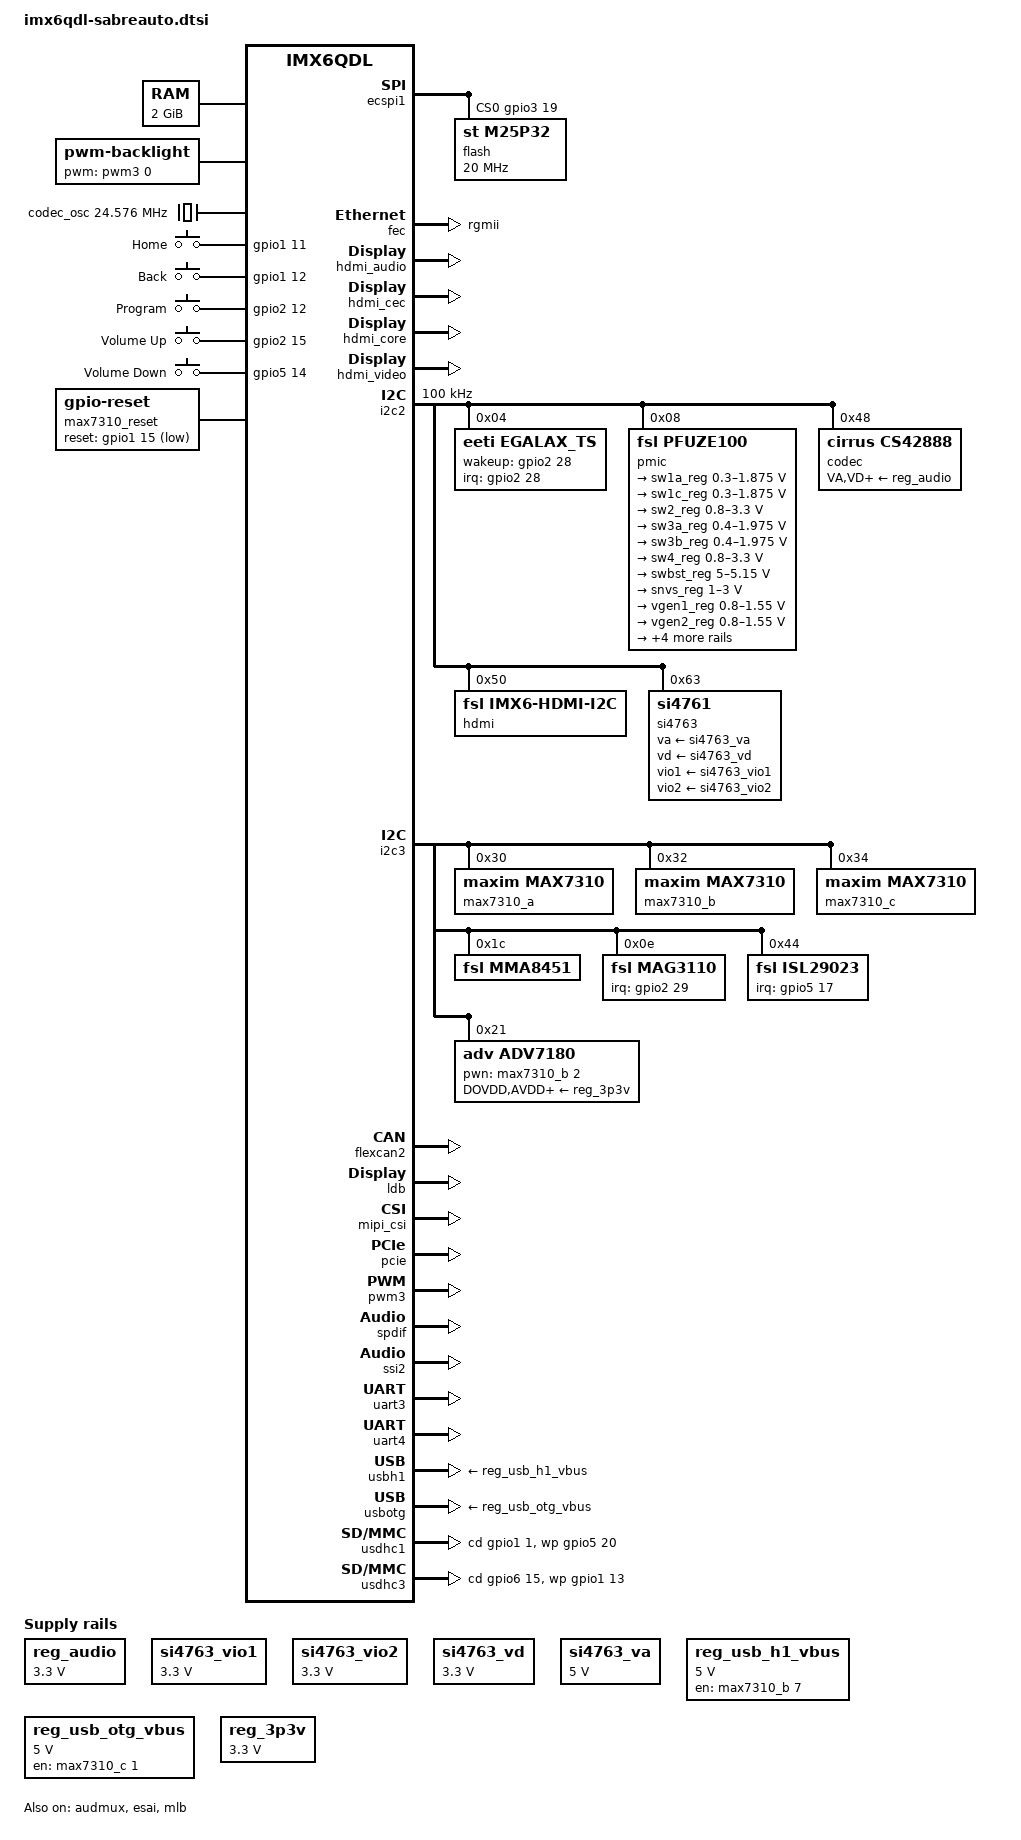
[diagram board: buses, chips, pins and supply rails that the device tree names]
/*
 * Copyright 2012 Freescale Semiconductor, Inc.
 * Copyright 2011 Linaro Ltd.
 *
 * The code contained herein is licensed under the GNU General Public
 * License. You may obtain a copy of the GNU General Public License
 * Version 2 or later at the following locations:
 *
 * http://www.opensource.org/licenses/gpl-license.html
 * http://www.gnu.org/copyleft/gpl.html
 */

/ {
	aliases {
		mxcfb0 = &mxcfb1;
		mxcfb1 = &mxcfb2;
		mxcfb2 = &mxcfb3;
		mxcfb3 = &mxcfb4;
	};

	memory {
		reg = <0x10000000 0x80000000>;
	};

	backlight {
		compatible = "pwm-backlight";
		pwms = <&pwm3 0 5000000>;
		brightness-levels = <0 4 8 16 32 64 128 255>;
		default-brightness-level = <7>;
	};

	clocks {
		codec_osc: codec_osc {
			compatible = "fixed-clock";
			#clock-cells = <0>;
			clock-frequency = <24576000>;
		};
	};

	gpio-keys {
		compatible = "gpio-keys";
		home {
			label = "Home";
			gpios = <&gpio1 11 0>;
			linux,code = <102>; /* KEY_HOME */
			gpio-key,wakeup;
		};

		back {
			label = "Back";
			gpios = <&gpio1 12 0>;
			linux,code = <158>; /* KEY_BACK */
			gpio-key,wakeup;
		};

		program {
			label = "Program";
			gpios = <&gpio2 12 0>;
			linux,code = <362>; /* KEY_PROGRAM */
			gpio-key,wakeup;
		};

		volume-up {
			label = "Volume Up";
			gpios = <&gpio2 15 0>;
			linux,code = <115>; /* KEY_VOLUMEUP */
			gpio-key,wakeup;
		};

		volume-down {
			label = "Volume Down";
			gpios = <&gpio5 14 0>;
			linux,code = <114>; /* KEY_VOLUMEDOWN */
			gpio-key,wakeup;
		};
	};

	max7310_reset: max7310-reset {
		compatible = "gpio-reset";
		reset-gpios = <&gpio1 15 GPIO_ACTIVE_LOW>;
		reset-delay-us = <1>;
		#reset-cells = <0>;
	};

	mxcfb1: fb@0 {
		compatible = "fsl,mxc_sdc_fb";
		disp_dev = "ldb";
		interface_pix_fmt = "RGB666";
		mode_str ="LDB-XGA";
		default_bpp = <16>;
		int_clk = <0>;
		late_init = <0>;
		status = "disabled";
	};

	mxcfb2: fb@1 {
		compatible = "fsl,mxc_sdc_fb";
		disp_dev = "hdmi";
		interface_pix_fmt = "RGB24";
		mode_str ="1920x1080M@60";
		default_bpp = <24>;
		int_clk = <0>;
		late_init = <0>;
		status = "disabled";
	};

	mxcfb3: fb@2 {
		compatible = "fsl,mxc_sdc_fb";
		disp_dev = "lcd";
		interface_pix_fmt = "RGB565";
		mode_str ="CLAA-WVGA";
		default_bpp = <16>;
		int_clk = <0>;
		late_init = <0>;
		status = "disabled";
	};

	mxcfb4: fb@3 {
		compatible = "fsl,mxc_sdc_fb";
		disp_dev = "ldb";
		interface_pix_fmt = "RGB666";
		mode_str ="LDB-XGA";
		default_bpp = <16>;
		int_clk = <0>;
		late_init = <0>;
		status = "disabled";
	};

	regulators {
		compatible = "simple-bus";
		reg_audio: cs42888_supply {
			compatible = "regulator-fixed";
			regulator-name = "cs42888_supply";
			regulator-min-microvolt = <3300000>;
			regulator-max-microvolt = <3300000>;
			regulator-always-on;
		};

		si4763_vio1: vio1_tnr {
			compatible = "regulator-fixed";
			regulator-name = "vio1";
			regulator-min-microvolt = <3300000>;
			regulator-max-microvolt = <3300000>;
			regulator-always-on;
		};

		si4763_vio2: vio2_tnr {
			compatible = "regulator-fixed";
			regulator-name = "vio2";
			regulator-min-microvolt = <3300000>;
			regulator-max-microvolt = <3300000>;
			regulator-always-on;
		};

		si4763_vd: f3v3_tnr {
			compatible = "regulator-fixed";
			regulator-name = "vd";
			regulator-min-microvolt = <3300000>;
			regulator-max-microvolt = <3300000>;
			regulator-always-on;
		};

		si4763_va: f5v_tnr {
			compatible = "regulator-fixed";
			regulator-name = "va";
			regulator-min-microvolt = <5000000>;
			regulator-max-microvolt = <5000000>;
			regulator-always-on;
		};

		reg_usb_h1_vbus: usb_h1_vbus {
			compatible = "regulator-fixed";
			regulator-name = "usb_h1_vbus";
			regulator-min-microvolt = <5000000>;
			regulator-max-microvolt = <5000000>;
			gpio = <&max7310_b 7 GPIO_ACTIVE_HIGH>;
			enable-active-high;
		};

		reg_usb_otg_vbus: usb_otg_vbus {
			compatible = "regulator-fixed";
			regulator-name = "usb_otg_vbus";
			regulator-min-microvolt = <5000000>;
			regulator-max-microvolt = <5000000>;
			gpio = <&max7310_c 1 GPIO_ACTIVE_HIGH>;
			enable-active-high;
		};

		reg_3p3v: 3p3v {
			compatible = "regulator-fixed";
			regulator-name = "3P3V";
			regulator-min-microvolt = <3300000>;
			regulator-max-microvolt = <3300000>;
			regulator-always-on;
		};
	};

	sound-cs42888 {
		compatible = "fsl,imx6-sabreauto-cs42888",
				"fsl,imx-audio-cs42888";
		model = "imx-cs42888";
		esai-controller = <&esai>;
		asrc-controller = <&asrc_p2p>;
		audio-codec = <&codec>;
	};

	sound-fm {
		compatible = "fsl,imx-audio-si476x",
			   "fsl,imx-tuner-si476x";
		model = "imx-radio-si4763";

		ssi-controller = <&ssi2>;
		fm-controller = <&si4763>;
		mux-int-port = <2>;
		mux-ext-port = <5>;
	};

	sound-hdmi {
		compatible = "fsl,imx6q-audio-hdmi",
			     "fsl,imx-audio-hdmi";
		model = "imx-audio-hdmi";
		hdmi-controller = <&hdmi_audio>;
	};

	sound-spdif {
		compatible = "fsl,imx-audio-spdif",
			   "fsl,imx-sabreauto-spdif";
		model = "imx-spdif";
		spdif-controller = <&spdif>;
		spdif-in;
	};

	v4l2_cap_0 {
		compatible = "fsl,imx6q-v4l2-capture";
		ipu_id = <0>;
		csi_id = <0>;
		mclk_source = <0>;
		status = "okay";
	};

	v4l2_cap_1 {
		compatible = "fsl,imx6q-v4l2-capture";
		ipu_id = <0>;
		csi_id = <1>;
		mclk_source = <0>;
		status = "okay";
	};

	v4l2_out {
		compatible = "fsl,mxc_v4l2_output";
		status = "okay";
	};
};

&audmux {
	pinctrl-names = "default";
	pinctrl-0 = <&pinctrl_audmux_3>;
	status = "okay";
};

&ecspi1 {
	fsl,spi-num-chipselects = <1>;
	cs-gpios = <&gpio3 19 0>;
	pinctrl-names = "default";
	pinctrl-0 = <&pinctrl_ecspi1_1>;

	flash: m25p80@0 {
		#address-cells = <1>;
		#size-cells = <1>;
		compatible = "st,m25p32";
		spi-max-frequency = <20000000>;
		reg = <0>;
	};
};

&esai {
	pinctrl-names = "default";
	pinctrl-0 = <&pinctrl_esai_2>;
	status = "okay";
};

&fec {
	pinctrl-names = "default";
	pinctrl-0 = <&pinctrl_enet_2>;
	phy-mode = "rgmii";
	status = "okay";
};

&gpc {
	fsl,cpu_pupscr_sw2iso = <0xf>;
	fsl,cpu_pupscr_sw = <0xf>;
	fsl,cpu_pdnscr_iso2sw = <0x1>;
	fsl,cpu_pdnscr_iso = <0x1>;
};

&hdmi_audio {
	status = "okay";
};

&hdmi_cec {
	pinctrl-names = "default";
	pinctrl-0 = <&pinctrl_hdmi_cec_1>;
	status = "okay";
};

&hdmi_core {
	ipu_id = <0>;
	disp_id = <1>;
	status = "okay";
};

&hdmi_video {
	fsl,phy_reg_vlev = <0x0294>;
	fsl,phy_reg_cksymtx = <0x800d>;
	status = "okay";
};

&i2c2 {
	clock-frequency = <100000>;
	pinctrl-names = "default";
	pinctrl-0 = <&pinctrl_i2c2_3>;
	status = "okay";

	egalax_ts@04 {
		compatible = "eeti,egalax_ts";
		reg = <0x04>;
		interrupt-parent = <&gpio2>;
		interrupts = <28 2>;
		wakeup-gpios = <&gpio2 28 0>;
	};

	pmic: pfuze100@08 {
		compatible = "fsl,pfuze100";
		reg = <0x08>;

		regulators {
			sw1a_reg: sw1ab {
				regulator-min-microvolt = <300000>;
				regulator-max-microvolt = <1875000>;
				regulator-boot-on;
				regulator-always-on;
				regulator-ramp-delay = <6250>;
			};

			sw1c_reg: sw1c {
				regulator-min-microvolt = <300000>;
				regulator-max-microvolt = <1875000>;
				regulator-boot-on;
				regulator-always-on;
				regulator-ramp-delay = <6250>;
			};

			sw2_reg: sw2 {
				regulator-min-microvolt = <800000>;
				regulator-max-microvolt = <3300000>;
				regulator-boot-on;
				regulator-always-on;
			};

			sw3a_reg: sw3a {
				regulator-min-microvolt = <400000>;
				regulator-max-microvolt = <1975000>;
				regulator-boot-on;
				regulator-always-on;
			};

			sw3b_reg: sw3b {
				regulator-min-microvolt = <400000>;
				regulator-max-microvolt = <1975000>;
				regulator-boot-on;
				regulator-always-on;
			};

			sw4_reg: sw4 {
				regulator-min-microvolt = <800000>;
				regulator-max-microvolt = <3300000>;
			};

			swbst_reg: swbst {
				regulator-min-microvolt = <5000000>;
				regulator-max-microvolt = <5150000>;
			};

			snvs_reg: vsnvs {
				regulator-min-microvolt = <1000000>;
				regulator-max-microvolt = <3000000>;
				regulator-boot-on;
				regulator-always-on;
			};

			vref_reg: vrefddr {
				regulator-boot-on;
				regulator-always-on;
			};

			vgen1_reg: vgen1 {
				regulator-min-microvolt = <800000>;
				regulator-max-microvolt = <1550000>;
			};

			vgen2_reg: vgen2 {
				regulator-min-microvolt = <800000>;
				regulator-max-microvolt = <1550000>;
			};

			vgen3_reg: vgen3 {
				regulator-min-microvolt = <1800000>;
				regulator-max-microvolt = <3300000>;
			};

			vgen4_reg: vgen4 {
				regulator-min-microvolt = <1800000>;
				regulator-max-microvolt = <3300000>;
				regulator-always-on;
			};

			vgen5_reg: vgen5 {
				regulator-min-microvolt = <1800000>;
				regulator-max-microvolt = <3300000>;
				regulator-always-on;
			};

			vgen6_reg: vgen6 {
				regulator-min-microvolt = <1800000>;
				regulator-max-microvolt = <3300000>;
				regulator-always-on;
			};
		};
	};

	codec: cs42888@048 {
		compatible = "cirrus,cs42888";
		reg = <0x048>;
		clocks = <&codec_osc 0>;
		clock-names = "codec_osc";
		VA-supply = <&reg_audio>;
		VD-supply = <&reg_audio>;
		VLS-supply = <&reg_audio>;
		VLC-supply = <&reg_audio>;
	};

	hdmi: edid@50 {
		compatible = "fsl,imx6-hdmi-i2c";
		reg = <0x50>;
	};

	si4763: si4763@63 {
		compatible = "si4761";
		reg = <0x63>;
		va-supply = <&si4763_va>;
		vd-supply = <&si4763_vd>;
		vio1-supply = <&si4763_vio1>;
		vio2-supply = <&si4763_vio2>;
	};
};

&i2c3 {
	pinctrl-names = "default";
	pinctrl-0 = <&pinctrl_i2c3_4>;
	pinctrl-assert-gpios = <&gpio5 4 GPIO_ACTIVE_HIGH>;
	status = "okay";

	max7310_a: gpio@30 {
		compatible = "maxim,max7310";
		reg = <0x30>;
		gpio-controller;
		#gpio-cells = <2>;
		resets = <&max7310_reset>;
	};

	max7310_b: gpio@32 {
		compatible = "maxim,max7310";
		reg = <0x32>;
		gpio-controller;
		#gpio-cells = <2>;
	};

	max7310_c: gpio@34 {
		compatible = "maxim,max7310";
		reg = <0x34>;
		gpio-controller;
		#gpio-cells = <2>;
	};

	mma8451@1c {
		compatible = "fsl,mma8451";
		reg = <0x1c>;
		position = <3>;
	};

	mag3110@0e {
		compatible = "fsl,mag3110";
		reg = <0x0e>;
		position = <2>;
		interrupt-parent = <&gpio2>;
		interrupts = <29 2>;
	};

	isl29023@44 {
		compatible = "fsl,isl29023";
		reg = <0x44>;
		rext = <499>;
		interrupt-parent = <&gpio5>;
		interrupts = <17 2>;
	};

	adv7180: adv7180@21 {
		compatible = "adv,adv7180";
		reg = <0x21>;
		pinctrl-names = "default";
		pinctrl-0 = <&pinctrl_ipu1_3>;
		clocks = <&clks 201>;
		clock-names = "csi_mclk";
		DOVDD-supply = <&reg_3p3v>; /* 3.3v, enabled via 2.8 VGEN6 */
		AVDD-supply = <&reg_3p3v>;  /* 1.8v */
		DVDD-supply = <&reg_3p3v>;  /* 1.8v */
		PVDD-supply = <&reg_3p3v>;  /* 1.8v */
		pwn-gpios = <&max7310_b 2 0>;
		csi_id = <0>;
		mclk = <24000000>;
		mclk_source = <0>;
		cvbs = <1>;
	};
};

&iomuxc {
	pinctrl-names = "default";
	pinctrl-0 = <&pinctrl_hog>;

	hog {
		pinctrl_hog: hoggrp {
			fsl,pins = <
				MX6QDL_PAD_NANDF_CS2__GPIO6_IO15 0x80000000
				MX6QDL_PAD_SD2_DAT2__GPIO1_IO13  0x80000000
				MX6QDL_PAD_EIM_A24__GPIO5_IO04   0x80000000
				MX6QDL_PAD_SD2_DAT0__GPIO1_IO15  0x80000000
				MX6QDL_PAD_EIM_EB0__GPIO2_IO28   0x80000000
				MX6QDL_PAD_EIM_EB1__GPIO2_IO29	0x80000000
				MX6QDL_PAD_DISP0_DAT23__GPIO5_IO17 0x80000000
				MX6QDL_PAD_SD2_CMD__GPIO1_IO11 0x80000000
				MX6QDL_PAD_SD2_DAT3__GPIO1_IO12 0x80000000
				MX6QDL_PAD_SD4_DAT4__GPIO2_IO12 0x80000000
				MX6QDL_PAD_SD4_DAT7__GPIO2_IO15 0x80000000
				MX6QDL_PAD_DISP0_DAT20__GPIO5_IO14 0x80000000
				MX6QDL_PAD_GPIO_18__SD3_VSELECT	0x17059
				MX6QDL_PAD_CSI0_DATA_EN__GPIO5_IO20 0x17059
				MX6QDL_PAD_GPIO_1__GPIO1_IO01 0x17059
			>;
		};
	};
};

&flexcan1 {
	pinctrl-names = "default";
	pinctrl-0 = <&pinctrl_flexcan1_1>;
	pinctrl-assert-gpios = <&max7310_b 3 GPIO_ACTIVE_HIGH>; /* TX */
	trx-en-gpio = <&max7310_b 6 GPIO_ACTIVE_HIGH>;
	trx-stby-gpio = <&max7310_b 5 GPIO_ACTIVE_HIGH>;
	status = "disabled"; /* pin conflict with fec */
};

&flexcan2 {
	pinctrl-names = "default";
	pinctrl-0 = <&pinctrl_flexcan2_1>;
	trx-en-gpio = <&max7310_c 6 GPIO_ACTIVE_HIGH>;
	trx-stby-gpio = <&max7310_c 5 GPIO_ACTIVE_HIGH>;
	status = "okay";
};

&ldb {
	ipu_id = <1>;
	disp_id = <0>;
	ext_ref = <1>;
	mode = "sep0";
	sec_ipu_id = <1>;
	sec_disp_id = <1>;
	status = "okay";
};

&mipi_csi {
	status = "okay";
	ipu_id = <0>;
	csi_id = <1>;
	v_channel = <0>;
	lanes = <1>;
};

&mlb {
	pinctrl-names = "default";
	pinctrl-0 = <&pinctrl_mlb_2>;
	status = "okay";
};

&pcie {
	status = "okay";
};

&pwm3 {
	pinctrl-names = "default";
	pinctrl-0 = <&pinctrl_pwm3_1>;
	status = "okay";
};

&spdif {
	pinctrl-names = "default";
	pinctrl-0 = <&pinctrl_spdif_1>;
	status = "okay";
};

&ssi2 {
	fsl,mode = "i2s-master";
	status = "okay";
};

&uart3 {
	pinctrl-names = "default";
	pinctrl-0 = <&pinctrl_uart3_1>;
	pinctrl-assert-gpios = <&max7310_b 4 GPIO_ACTIVE_HIGH>, /* CTS */
			       <&max7310_c 3 GPIO_ACTIVE_HIGH>; /* RXD and TXD */
	fsl,uart-has-rtscts;
	status = "okay";
};

&gpmi {
	pinctrl-names = "default";
	pinctrl-0 = <&pinctrl_gpmi_nand_1>;
	status = "disabled"; /* pin conflict with uart3 */
};

&uart4 {
	pinctrl-names = "default";
	pinctrl-0 = <&pinctrl_uart4_1>;
	status = "okay";
};

&usbh1 {
	vbus-supply = <&reg_usb_h1_vbus>;
	status = "okay";
};

&usbotg {
	vbus-supply = <&reg_usb_otg_vbus>;
	pinctrl-names = "default";
	pinctrl-0 = <&pinctrl_usbotg_2>;
	imx6-usb-charger-detection;
	status = "okay";
};

&usdhc1 {
	pinctrl-names = "default";
	pinctrl-0 = <&pinctrl_usdhc1_1>;
	cd-gpios = <&gpio1 1 0>;
	wp-gpios = <&gpio5 20 0>;
	no-1-8-v;
	status = "okay";
};

&usdhc3 {
	pinctrl-names = "default", "state_100mhz", "state_200mhz";
	pinctrl-0 = <&pinctrl_usdhc3_1>;
	pinctrl-1 = <&pinctrl_usdhc3_1_100mhz>;
	pinctrl-2 = <&pinctrl_usdhc3_1_200mhz>;
	cd-gpios = <&gpio6 15 0>;
	wp-gpios = <&gpio1 13 0>;
	status = "okay";
};

&weim {
	pinctrl-names = "default";
	pinctrl-0 = <&pinctrl_weim_nor_1 &pinctrl_weim_cs0_1>;
	#address-cells = <2>;
	#size-cells = <1>;
	ranges = <0 0 0x08000000 0x08000000>;
	status = "disabled"; /* pin conflict with ecspi1, i2c3 and uart3 */

	nor@0,0 {
		compatible = "cfi-flash";
		reg = <0 0 0x02000000>;
		#address-cells = <1>;
		#size-cells = <1>;
		bank-width = <2>;
		fsl,weim-cs-timing = <0x00620081 0x00000001 0x1c022000
				0x0000c000 0x1404a38e 0x00000000>;
	};
};
